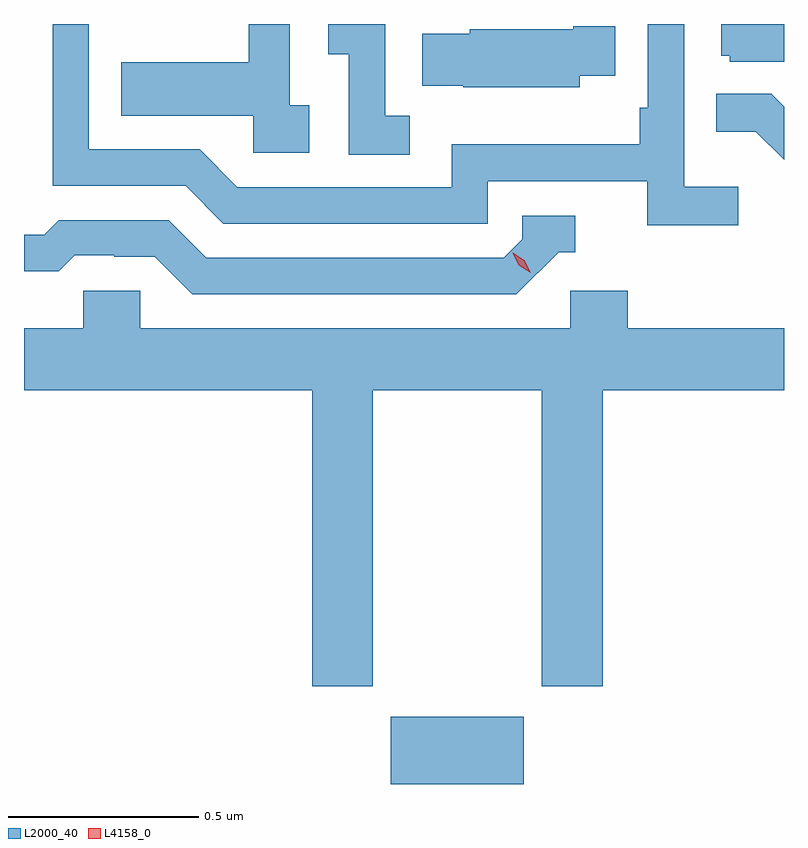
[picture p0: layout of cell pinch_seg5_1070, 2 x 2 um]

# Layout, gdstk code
import gdstk
lib = gdstk.Library(unit=1e-6, precision=1e-09)
def R(c, l, rs):  # rectangles x0, y0, x1, y1
    for r in rs: c.add(gdstk.rectangle(r[:2], r[2:], *l))
def P(c, l, *ps):  # polygons
    for p in ps: c.add(gdstk.Polygon(p, *l))
L2000_40 = (2000, 40)
L4158_0 = (4158, 0)

pinch_seg5_1070 = lib.new_cell('pinch_seg5_1070')
R(pinch_seg5_1070, L2000_40, [(856.448,867.712,856.798,867.889)])
P(pinch_seg5_1070, L2000_40, [(857.362,869.284),(857.22,869.284),(857.22,869.712),(857.124,869.712),(857.124,869.491),(857.104,869.491),(857.104,869.395),(856.608,869.395),(856.608,869.283),(856.044,869.283),(855.945,869.382),(855.654,869.382),(855.654,869.712),(855.558,869.712),(855.558,869.286),(855.908,869.286),(856.007,869.187),(856.704,869.187),(856.704,869.298),(857.123,869.298),(857.123,869.182),(857.362,869.182)],
  [(857.483,869.712),(857.318,869.712),(857.318,869.628),(857.34,869.628),(857.34,869.613),(857.483,869.613)],
  [(856.498,869.471),(856.434,869.471),(856.434,869.712),(856.283,869.712),(856.283,869.632),(856.338,869.632),(856.338,869.368),(856.498,869.368)],
  [(856.234,869.498),(856.182,869.498),(856.182,869.712),(856.074,869.712),(856.074,869.611),(855.739,869.611),(855.739,869.471),(856.086,869.471),(856.086,869.373),(856.234,869.373)],
  [(856.945,869.576),(857.039,869.576),(857.039,869.706),(856.928,869.706),(856.928,869.698),(856.656,869.698),(856.656,869.686),(856.531,869.686),(856.531,869.549),(856.639,869.549),(856.639,869.546),(856.945,869.546)],
  [(857.483,869.494),(857.449,869.528),(857.305,869.528),(857.305,869.429),(857.409,869.429),(857.483,869.355)],
  [(856.89,869.112),(856.933,869.112),(856.933,869.208),(856.794,869.208),(856.794,869.145),(856.746,869.097),(855.963,869.097),(855.864,869.196),(855.575,869.196),(855.536,869.157),(855.483,869.157),(855.483,869.061),(855.575,869.061),(855.617,869.103),(855.72,869.103),(855.72,869.1),(855.827,869.1),(855.926,869.001),(856.779,869.001)],
  [(856.401,868.748),(856.846,868.748),(856.846,867.969),(857.006,867.969),(857.006,868.748),(857.483,868.748),(857.483,868.912),(857.072,868.912),(857.072,869.01),(856.92,869.01),(856.92,868.912),(855.789,868.912),(855.789,869.01),(855.639,869.01),(855.639,868.912),(855.483,868.912),(855.483,868.748),(856.241,868.748),(856.241,867.969),(856.401,867.969)])
P(pinch_seg5_1070, L4158_0, [(856.816,869.058),(856.785,869.077),(856.769,869.109),(856.769,869.11),(856.769,869.11),(856.8,869.09),(856.816,869.058),(856.816,869.058)])

lib.write_gds('pinch_seg5_1070.gds')
